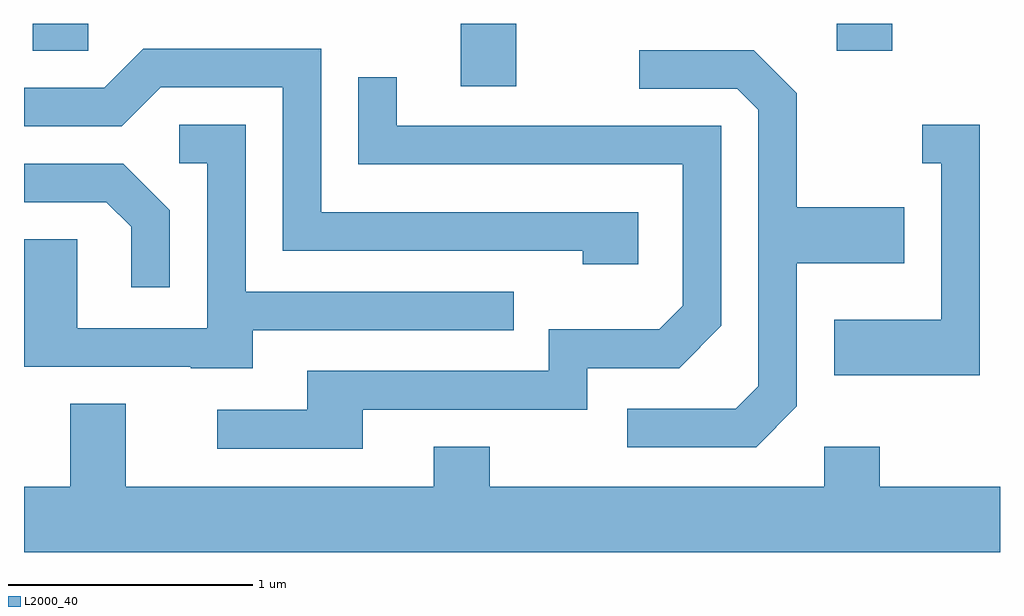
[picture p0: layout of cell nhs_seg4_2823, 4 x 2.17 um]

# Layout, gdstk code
import gdstk
lib = gdstk.Library(unit=1e-6, precision=1e-09)
def R(c, l, rs):  # rectangles x0, y0, x1, y1
    for r in rs: c.add(gdstk.rectangle(r[:2], r[2:], *l))
def P(c, l, *ps):  # polygons
    for p in ps: c.add(gdstk.Polygon(p, *l))
L2000_40 = (2000, 40)

nhs_seg4_2823 = lib.new_cell('nhs_seg4_2823')
R(nhs_seg4_2823, L2000_40, [(269.401,1327.726,269.629,1327.982), (267.646,1327.871,267.874,1327.982), (270.941,1327.871,271.169,1327.982)])
P(nhs_seg4_2823, L2000_40, [(270.129,1327.209),(268.829,1327.209),(268.829,1327.879),(268.099,1327.879),(267.939,1327.719),(267.611,1327.719),(267.611,1327.561),(268.012,1327.561),(268.172,1327.721),(268.671,1327.721),(268.671,1327.051),(269.901,1327.051),(269.901,1326.996),(270.129,1326.996)],
  [(270.779,1326.414),(270.779,1327.001),(271.219,1327.001),(271.219,1327.229),(270.779,1327.229),(270.779,1327.697),(270.602,1327.874),(270.133,1327.874),(270.133,1327.716),(270.534,1327.716),(270.621,1327.629),(270.621,1326.497),(270.529,1326.404),(270.083,1326.404),(270.083,1326.246),(270.612,1326.246)],
  [(268.999,1326.401),(269.919,1326.401),(269.919,1326.571),(270.297,1326.571),(270.469,1326.744),(270.469,1327.564),(269.139,1327.564),(269.139,1327.763),(268.981,1327.763),(268.981,1327.406),(270.311,1327.406),(270.311,1326.827),(270.214,1326.729),(269.761,1326.729),(269.761,1326.559),(268.771,1326.559),(268.771,1326.399),(268.403,1326.399),(268.403,1326.241),(268.999,1326.241)],
  [(268.549,1326.726),(269.618,1326.726),(269.618,1326.884),(268.519,1326.884),(268.519,1327.569),(268.248,1327.569),(268.248,1327.411),(268.361,1327.411),(268.361,1326.734),(267.829,1326.734),(267.829,1327.099),(267.611,1327.099),(267.611,1326.576),(268.295,1326.576),(268.295,1326.571),(268.549,1326.571)],
  [(271.529,1327.569),(271.293,1327.569),(271.293,1327.411),(271.371,1327.411),(271.371,1326.769),(270.931,1326.769),(270.931,1326.541),(271.529,1326.541)],
  [(268.209,1327.217),(268.017,1327.409),(267.611,1327.409),(267.611,1327.251),(267.949,1327.251),(268.051,1327.149),(268.051,1326.903),(268.209,1326.903)],
  [(271.611,1326.084),(271.119,1326.084),(271.119,1326.249),(270.891,1326.249),(270.891,1326.084),(269.519,1326.084),(269.519,1326.249),(269.291,1326.249),(269.291,1326.084),(268.029,1326.084),(268.029,1326.424),(267.801,1326.424),(267.801,1326.084),(267.611,1326.084),(267.611,1325.816),(271.611,1325.816)])

lib.write_gds('nhs_seg4_2823.gds')
